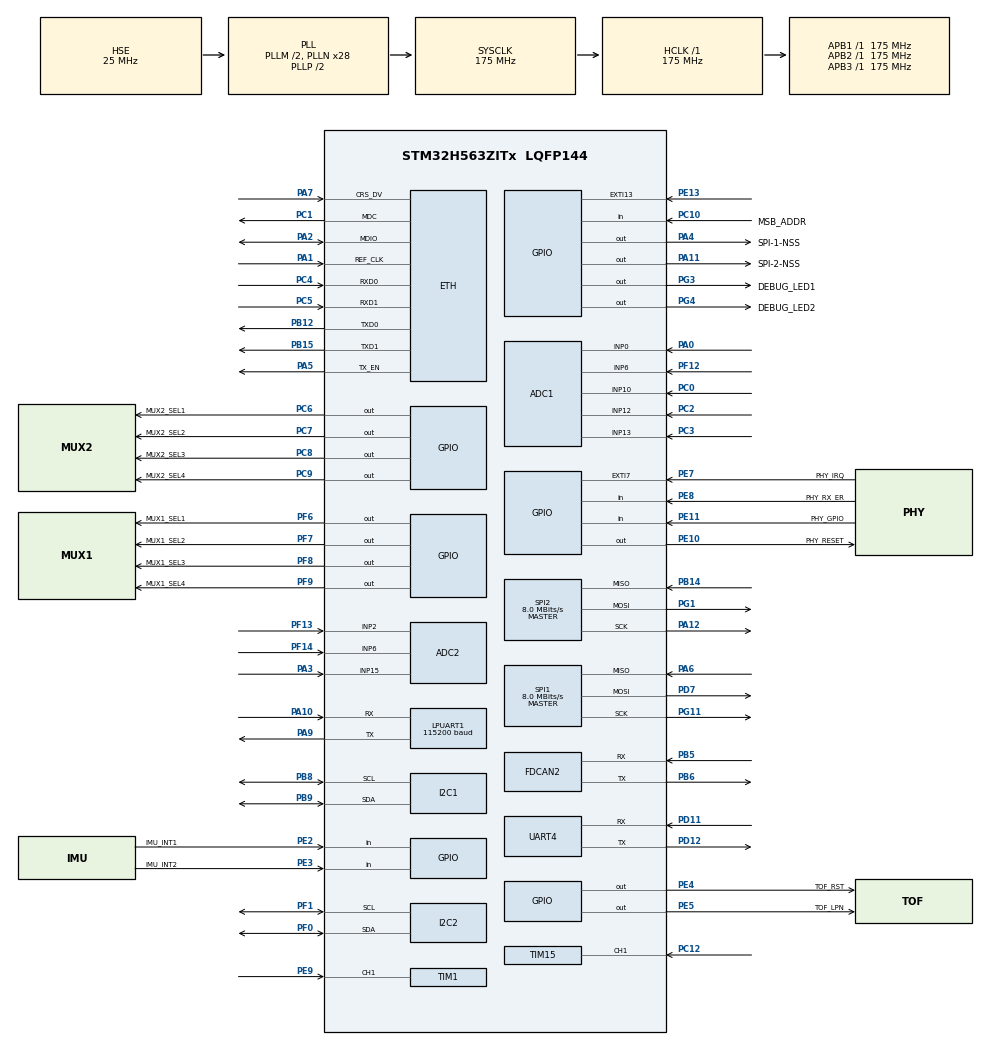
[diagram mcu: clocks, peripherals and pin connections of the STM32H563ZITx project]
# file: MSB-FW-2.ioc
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ADC1.Channel-0\#ChannelRegularConversion=ADC_CHANNEL_0
ADC1.Channel-1\#ChannelRegularConversion=ADC_CHANNEL_6
ADC1.Channel-2\#ChannelRegularConversion=ADC_CHANNEL_10
ADC1.Channel-3\#ChannelRegularConversion=ADC_CHANNEL_12
ADC1.Channel-4\#ChannelRegularConversion=ADC_CHANNEL_13
ADC1.ContinuousConvMode=ENABLE
ADC1.ConversionDataManagement=ADC_CONVERSIONDATA_DMA_CIRCULAR
ADC1.DMAContinuousRequests=ENABLE
ADC1.ExternalTrigConv=ADC_EXTERNALTRIG_T3_TRGO
ADC1.MonitoredBy-0\#ChannelRegularConversion=__NULL
ADC1.MonitoredBy-1\#ChannelRegularConversion=__NULL
ADC1.MonitoredBy-2\#ChannelRegularConversion=__NULL
ADC1.MonitoredBy-3\#ChannelRegularConversion=__NULL
ADC1.MonitoredBy-4\#ChannelRegularConversion=__NULL
ADC1.NbrOfConversion=5
ADC1.NbrOfConversionFlag=1
ADC1.OffsetNumber-0\#ChannelRegularConversion=ADC_OFFSET_NONE
ADC1.OffsetNumber-1\#ChannelRegularConversion=ADC_OFFSET_NONE
ADC1.OffsetNumber-2\#ChannelRegularConversion=ADC_OFFSET_NONE
ADC1.OffsetNumber-3\#ChannelRegularConversion=ADC_OFFSET_NONE
ADC1.OffsetNumber-4\#ChannelRegularConversion=ADC_OFFSET_NONE
ADC1.Rank-0\#ChannelRegularConversion=1
ADC1.Rank-1\#ChannelRegularConversion=2
ADC1.Rank-2\#ChannelRegularConversion=3
ADC1.Rank-3\#ChannelRegularConversion=4
ADC1.Rank-4\#ChannelRegularConversion=5
ADC1.SamplingTime-0\#ChannelRegularConversion=ADC_SAMPLETIME_92CYCLES_5
ADC1.SamplingTime-1\#ChannelRegularConversion=ADC_SAMPLETIME_92CYCLES_5
ADC1.SamplingTime-2\#ChannelRegularConversion=ADC_SAMPLETIME_92CYCLES_5
ADC1.SamplingTime-3\#ChannelRegularConversion=ADC_SAMPLETIME_92CYCLES_5
ADC1.SamplingTime-4\#ChannelRegularConversion=ADC_SAMPLETIME_92CYCLES_5
ADC1.master=1
ADC2.Channel-1\#ChannelRegularConversion=ADC_CHANNEL_15
ADC2.Channel-2\#ChannelRegularConversion=ADC_CHANNEL_2
ADC2.Channel-3\#ChannelRegularConversion=ADC_CHANNEL_6
ADC2.ContinuousConvMode=ENABLE
ADC2.DMAContinuousRequests=ENABLE
ADC2.ExternalTrigConv=ADC_EXTERNALTRIG_T3_TRGO
ADC2.MonitoredBy-1\#ChannelRegularConversion=__NULL
ADC2.MonitoredBy-2\#ChannelRegularConversion=__NULL
ADC2.MonitoredBy-3\#ChannelRegularConversion=__NULL
ADC2.NbrOfConversion=3
ADC2.NbrOfConversionFlag=1
ADC2.OffsetNumber-1\#ChannelRegularConversion=ADC_OFFSET_NONE
ADC2.OffsetNumber-2\#ChannelRegularConversion=ADC_OFFSET_NONE
ADC2.OffsetNumber-3\#ChannelRegularConversion=ADC_OFFSET_NONE
ADC2.Rank-1\#ChannelRegularConversion=1
ADC2.Rank-2\#ChannelRegularConversion=2
ADC2.Rank-3\#ChannelRegularConversion=3
ADC2.SamplingTime-1\#ChannelRegularConversion=ADC_SAMPLETIME_92CYCLES_5
ADC2.SamplingTime-2\#ChannelRegularConversion=ADC_SAMPLETIME_92CYCLES_5
ADC2.SamplingTime-3\#ChannelRegularConversion=ADC_SAMPLETIME_92CYCLES_5
BOOTPATH.BootPathName=LEGACY
BOOTPATH.UserSelectedBootPath=LEGACY
CORTEX_M33_NS.userName=CORTEX_M33
ETH.MediaInterface=HAL_ETH_RMII_MODE
FDCAN2.CalculateBaudRateNominal=500000
FDCAN2.CalculateTimeBitNominal=2000
FDCAN2.CalculateTimeQuantumNominal=125.0
FDCAN2.NominalPrescaler=8
FDCAN2.NominalTimeSeg1=11
FDCAN2.NominalTimeSeg2=4
GPDMA1.CIRCULARMODE_GPDMACH0=ENABLE
GPDMA1.CIRCULARMODE_GPDMACH1=ENABLE
GPDMA1.DESTDATAWIDTH_GPDMACH0=DMA_DEST_DATAWIDTH_HALFWORD
GPDMA1.DESTDATAWIDTH_GPDMACH1=DMA_DEST_DATAWIDTH_HALFWORD
GPDMA1.DESTINC_GPDMACH0=DMA_DINC_INCREMENTED
GPDMA1.DESTINC_GPDMACH1=DMA_DINC_INCREMENTED
GPDMA1.IPHANDLE_GPDMACH0-SIMPLEREQUEST_GPDMACH0=__NULL
GPDMA1.IPHANDLE_GPDMACH1-SIMPLEREQUEST_GPDMACH1=__NULL
GPDMA1.LINKALLOCATEDPORT_CIRCULAR_GPDMACH0=DMA_LINK_ALLOCATED_PORT0
GPDMA1.REQUEST_GPDMACH0=GPDMA1_REQUEST_ADC1
GPDMA1.REQUEST_GPDMACH1=GPDMA1_REQUEST_ADC2
GPDMA1.SRCDATAWIDTH_GPDMACH0=DMA_SRC_DATAWIDTH_HALFWORD
GPDMA1.SRCDATAWIDTH_GPDMACH1=DMA_SRC_DATAWIDTH_HALFWORD
I2C1.Timing=0x60606293
I2C2.Timing=0x60606293
IWDG.Prescaler=IWDG_PRESCALER_16
LPUART1.BaudRate=115200
Mcu.Family=STM32H5
Mcu.Name=STM32H563ZITx
Mcu.Package=LQFP144
NVIC.EXTI7_IRQn=true\:2\:0\:true\:false\:true\:false\:true\:true\:true
NVIC.FDCAN2_IT0_IRQn=true\:2\:0\:true\:false\:true\:false\:true\:true\:true
NVIC.FDCAN2_IT1_IRQn=true\:2\:0\:true\:false\:true\:false\:true\:true\:true
NVIC.GPDMA1_Channel0_IRQn=true\:2\:0\:true\:false\:true\:true\:false\:true\:true
NVIC.GPDMA1_Channel1_IRQn=true\:2\:0\:true\:false\:true\:true\:false\:true\:true
NVIC.PriorityGroup=NVIC_PRIORITYGROUP_4
NVIC.TIM15_IRQn=true\:2\:0\:true\:false\:true\:false\:true\:true\:true
NVIC.TIM1_CC_IRQn=true\:2\:0\:true\:false\:true\:false\:true\:true\:true
NVIC.TIM2_IRQn=true\:1\:0\:true\:false\:true\:false\:false\:true\:true
NVIC.TimeBase=TIM2_IRQn
NVIC.TimeBaseIP=TIM2
PA0.Signal=ADCx_INP0
PA1.Mode=RMII
PA1.Signal=ETH_REF_CLK
PA10.Mode=Asynchronous
PA10.Signal=LPUART1_RX
PA11.GPIO_Label=SPI-2-NSS
PA11.Signal=GPIO_Output
PA12.Mode=Full_Duplex_Master
PA12.Signal=SPI2_SCK
PA13(JTMS/SWDIO).Mode=JTAG_4_pins
PA13(JTMS/SWDIO).Signal=DEBUG_JTMS-SWDIO
PA14(JTCK/SWCLK).Mode=JTAG_4_pins
PA14(JTCK/SWCLK).Signal=DEBUG_JTCK-SWCLK
PA15(JTDI).Mode=JTAG_4_pins
PA15(JTDI).Signal=DEBUG_JTDI
PA2.Mode=RMII
PA2.Signal=ETH_MDIO
PA3.Signal=ADCx_INP15
PA4.GPIO_Label=SPI-1-NSS
PA4.Signal=GPIO_Output
PA5.Mode=RMII
PA5.Signal=ETH_TX_EN
PA6.Mode=Full_Duplex_Master
PA6.Signal=SPI1_MISO
PA7.Mode=RMII
PA7.Signal=ETH_CRS_DV
PA9.Mode=Asynchronous
PA9.Signal=LPUART1_TX
PB12.Mode=RMII
PB12.Signal=ETH_TXD0
PB14.Mode=Full_Duplex_Master
PB14.Signal=SPI2_MISO
PB15.Mode=RMII
PB15.Signal=ETH_TXD1
PB3(JTDO/TRACESWO).Mode=JTAG_4_pins
PB3(JTDO/TRACESWO).Signal=DEBUG_JTDO-SWO
PB5.Mode=FDCAN_Activate
PB5.Signal=FDCAN2_RX
PB6.Mode=FDCAN_Activate
PB6.Signal=FDCAN2_TX
PB8.Mode=I2C
PB8.Signal=I2C1_SCL
PB9.Mode=I2C
PB9.Signal=I2C1_SDA
PC0.Signal=ADCx_INP10
PC1.Mode=RMII
PC1.Signal=ETH_MDC
PC10.GPIO_Label=MSB_ADDR
PC10.Signal=GPIO_Input
PC12.Signal=S_TIM15_CH1
PC14-OSC32_IN(OSC32_IN).Mode=LSE-External-Oscillator
PC14-OSC32_IN(OSC32_IN).Signal=RCC_OSC32_IN
PC15-OSC32_OUT(OSC32_OUT).Mode=LSE-External-Oscillator
PC15-OSC32_OUT(OSC32_OUT).Signal=RCC_OSC32_OUT
PC2.Signal=ADCx_INP12
PC3.Signal=ADCx_INP13
PC4.Mode=RMII
PC4.Signal=ETH_RXD0
PC5.Mode=RMII
PC5.Signal=ETH_RXD1
PC6.GPIO_Label=MUX2_SEL1
PC6.Signal=GPIO_Output
PC7.GPIO_Label=MUX2_SEL2
PC7.Signal=GPIO_Output
PC8.GPIO_Label=MUX2_SEL3
PC8.Signal=GPIO_Output
PC9.GPIO_Label=MUX2_SEL4
PC9.Signal=GPIO_Output
PD11.Mode=Asynchronous
PD11.Signal=UART4_RX
PD12.Mode=Asynchronous
PD12.Signal=UART4_TX
PD7.Mode=Full_Duplex_Master
PD7.Signal=SPI1_MOSI
PE10.GPIO_Label=PHY_RESET
PE10.PinState=GPIO_PIN_SET
PE10.Signal=GPIO_Output
PE11.GPIO_Label=PHY_GPIO
PE11.GPIO_PuPd=GPIO_PULLDOWN
PE11.Signal=GPIO_Input
PE13.Signal=GPXTI13
PE2.GPIO_Label=IMU_INT1
PE2.Signal=GPIO_Input
PE3.GPIO_Label=IMU_INT2
PE3.Signal=GPIO_Input
PE4.GPIO_Label=TOF_RST
PE4.Signal=GPIO_Output
PE5.GPIO_Label=TOF_LPN
PE5.Signal=GPIO_Output
PE7.GPIO_Label=PHY_IRQ
PE7.GPIO_ModeDefaultEXTI=GPIO_MODE_IT_FALLING
PE7.Signal=GPXTI7
PE8.GPIO_Label=PHY_RX_ER
PE8.Signal=GPIO_Input
PE9.Signal=S_TIM1_CH1
PF0.Mode=I2C
PF0.Signal=I2C2_SDA
PF1.Mode=I2C
PF1.Signal=I2C2_SCL
PF12.Mode=IN6-Single-Ended
PF12.Signal=ADC1_INP6
PF13.Mode=IN2-Single-Ended
PF13.Signal=ADC2_INP2
PF14.Mode=IN6-Single-Ended
PF14.Signal=ADC2_INP6
PF6.GPIO_Label=MUX1_SEL1
PF6.Signal=GPIO_Output
PF7.GPIO_Label=MUX1_SEL2
PF7.Signal=GPIO_Output
PF8.GPIO_Label=MUX1_SEL3
PF8.Signal=GPIO_Output
PF9.GPIO_Label=MUX1_SEL4
PF9.Signal=GPIO_Output
PG1.Mode=Full_Duplex_Master
PG1.Signal=SPI2_MOSI
PG11.Mode=Full_Duplex_Master
PG11.Signal=SPI1_SCK
PG3.GPIO_Label=DEBUG_LED1
PG3.Signal=GPIO_Output
PG4.GPIO_Label=DEBUG_LED2
PG4.Signal=GPIO_Output
PH0-OSC_IN(PH0).Mode=HSE-External-Oscillator
PH0-OSC_IN(PH0).Signal=RCC_OSC_IN
PH1-OSC_OUT(PH1).Mode=HSE-External-Oscillator
PH1-OSC_OUT(PH1).Signal=RCC_OSC_OUT
ProjectManager.HeapSize=0x200
ProjectManager.StackSize=0x400
ProjectManager.TargetToolchain=CMake
RCC.ADCFreq_Value=175000000
RCC.AHBFreq_Value=175000000
RCC.APB1Freq_Value=175000000
RCC.APB1TimFreq_Value=175000000
RCC.APB2Freq_Value=175000000
RCC.APB2TimFreq_Value=175000000
RCC.APB3Freq_Value=175000000
RCC.CSI_VALUE=4000000
RCC.CortexFreq_Value=175000000
RCC.EPOD_VALUE=25000000
RCC.FDCANClockSelection=RCC_FDCANCLKSOURCE_PLL2Q
RCC.HCLKFreq_Value=175000000
RCC.HSE_VALUE=25000000
RCC.HSI48_VALUE=48000000
RCC.HSI_VALUE=64000000
RCC.LSIRC_VALUE=32000
RCC.PLL2FRACN=0
RCC.PLL2M=5
RCC.PLL2N=64
RCC.PLL2P=5
RCC.PLL2Q=5
RCC.PLL2Source=RCC_PLL2_SOURCE_HSE
RCC.PLL3FRACN=0
RCC.PLLFRACN=0
RCC.PLLM=2
RCC.PLLN=28
RCC.PLLSourceVirtual=RCC_PLL1_SOURCE_HSE
RCC.SPI1CLockSelection=RCC_SPI1CLKSOURCE_PLL2P
RCC.SPI2CLockSelection=RCC_SPI2CLKSOURCE_PLL2P
RCC.SYSCLKFreq_VALUE=175000000
RCC.SYSCLKSource=RCC_SYSCLKSOURCE_PLLCLK
RCC.USBFreq_Value=48000000
RCC.VCOOutputFreq_Value=350000000
SH.ADCx_INP0.0=ADC1_INP0,IN0-Single-Ended
SH.ADCx_INP10.0=ADC1_INP10,IN10-Single-Ended
SH.ADCx_INP12.0=ADC1_INP12,IN12-Single-Ended
SH.ADCx_INP13.0=ADC1_INP13,IN13-Single-Ended
SH.ADCx_INP15.0=ADC2_INP15,IN15-Single-Ended
SH.S_TIM15_CH1.0=TIM15_CH1,Input_Capture1_from_TI1
SH.S_TIM1_CH1.0=TIM1_CH1,Input_Capture1_from_TI1
SPI1.BaudRatePrescaler=SPI_BAUDRATEPRESCALER_8
SPI1.CalculateBaudRate=8.0 MBits/s
SPI1.DataSize=SPI_DATASIZE_8BIT
SPI1.Direction=SPI_DIRECTION_2LINES
SPI1.MasterKeepIOState=SPI_MASTER_KEEP_IO_STATE_ENABLE
SPI1.Mode=SPI_MODE_MASTER
SPI1.NSSPMode=SPI_NSS_PULSE_DISABLE
SPI1.VirtualType=VM_MASTER
SPI2.BaudRatePrescaler=SPI_BAUDRATEPRESCALER_8
SPI2.CalculateBaudRate=8.0 MBits/s
SPI2.DataSize=SPI_DATASIZE_8BIT
SPI2.Direction=SPI_DIRECTION_2LINES
SPI2.MasterKeepIOState=SPI_MASTER_KEEP_IO_STATE_ENABLE
SPI2.Mode=SPI_MODE_MASTER
SPI2.NSSPMode=SPI_NSS_PULSE_DISABLE
SPI2.VirtualType=VM_MASTER
STMicroelectronics.X-CUBE-MEMS1.12.0.0.SensorsJjSTM32IiMotionFXIiLibraryJjCore=true
STMicroelectronics.X-CUBE-TOF1.3.4.3.BSP.number=3
STMicroelectronics.X-CUBE-TOF1.3.4.3.BoardOoPartJjRangingJjVL53L7CX=true
STMicroelectronics.X-CUBE-TOF1.3.4.30.BSP.STBoard=false
STMicroelectronics.X-CUBE-TOF1.3.4.30.BSP.api=Unknown
STMicroelectronics.X-CUBE-TOF1.3.4.30.BSP.condition=SEMBoardOoPartJjRangingJjVL53L7CX
STMicroelectronics.X-CUBE-TOF1.3.4.30.BSP.instance=PG3
STMicroelectronics.X-CUBE-TOF1.3.4.30.BSP.ip=GPIO
STMicroelectronics.X-CUBE-TOF1.3.4.30.BSP.mode=Output
STMicroelectronics.X-CUBE-TOF1.3.4.30.BSP.name=VL53L7CX_PWR_EN
STMicroelectronics.X-CUBE-TOF1.3.4.30.BSP.solution=PG3
STMicroelectronics.X-CUBE-TOF1.3.4.31.BSP.STBoard=false
STMicroelectronics.X-CUBE-TOF1.3.4.31.BSP.api=Unknown
STMicroelectronics.X-CUBE-TOF1.3.4.31.BSP.condition=SEMBoardOoPartJjRangingJjVL53L7CX
STMicroelectronics.X-CUBE-TOF1.3.4.31.BSP.instance=PE5
STMicroelectronics.X-CUBE-TOF1.3.4.31.BSP.ip=GPIO
STMicroelectronics.X-CUBE-TOF1.3.4.31.BSP.mode=Output
STMicroelectronics.X-CUBE-TOF1.3.4.31.BSP.name=VL53L7CX_LPn
STMicroelectronics.X-CUBE-TOF1.3.4.31.BSP.solution=PE5
STMicroelectronics.X-CUBE-TOF1.3.4.32.BSP.STBoard=false
STMicroelectronics.X-CUBE-TOF1.3.4.32.BSP.api=Unknown
STMicroelectronics.X-CUBE-TOF1.3.4.32.BSP.condition=SEMBoardOoPartJjRangingJjVL53L7CX
STMicroelectronics.X-CUBE-TOF1.3.4.32.BSP.instance=PE4
STMicroelectronics.X-CUBE-TOF1.3.4.32.BSP.ip=GPIO
STMicroelectronics.X-CUBE-TOF1.3.4.32.BSP.mode=Output
STMicroelectronics.X-CUBE-TOF1.3.4.32.BSP.name=VL53L7CX_I2C_RST
STMicroelectronics.X-CUBE-TOF1.3.4.32.BSP.solution=PE4
THREADX.TX_APP_GENERATE_INIT_CODE=true
THREADX.TX_APP_MEM_POOL_SIZE=60040
THREADX.TX_TIMER_TICKS_PER_SECOND=1000
TIM1.Channel-Input_Capture1_from_TI1=TIM_CHANNEL_1
TIM1.ICFilter_CH1=4
TIM1.Prescaler=1750-1
TIM15.Channel-Input_Capture1_from_TI1=TIM_CHANNEL_1
TIM15.ICFilter_CH1=4
TIM15.Prescaler=1750-1
TIM3.AutoReloadPreload=TIM_AUTORELOAD_PRELOAD_ENABLE
TIM3.PeriodNoDither=3999
TIM3.Prescaler=174
TIM3.TIM_MasterOutputTrigger=TIM_TRGO_UPDATE
VP_BOOTPATH_VS_BOOTPATH.Mode=BP_Activate
VP_CORTEX_M33_NS_VS_Hclk.Mode=Hclk_Mode
VP_DCACHE1_VS_DCACHE.Mode=DCACHE_Activate
VP_GPDMA1_VS_GPDMACH0.Mode=SIMPLEREQUEST_GPDMACH0
VP_GPDMA1_VS_GPDMACH1.Mode=SIMPLEREQUEST_GPDMACH1
VP_ICACHE_VS_ICACHE.Mode=DirectMappedCache
VP_IWDG_VS_IWDG.Mode=IWDG_Activate
VP_MEMORYMAP_VS_MEMORYMAP.Mode=CurAppReg
VP_PWR_VS_LPOM.Mode=PowerOptimisation
VP_PWR_VS_SECSignals.Mode=Security/Privilege
VP_STMicroelectronics.X-CUBE-MEMS1_VS_SensorsJjSTM32IiMotionFXIiLibrary_2.10.0_12.0.0.Mode=SensorsJjSTM32IiMotionFXIiLibrary
VP_STMicroelectronics.X-CUBE-TOF1_VS_BoardOoPartJjRanging_2.0.6_3.4.3.Mode=BoardOoPartJjRanging
VP_SYS_VS_tim2.Mode=TIM2
VP_THREADX_VS_RTOSJjThreadXJjCoreJjDefault.Mode=Core_Default
VP_TIM15_VS_ClockSourceINT.Mode=Internal
VP_TIM1_VS_ClockSourceINT.Mode=Internal
VP_TIM3_VS_ClockSourceINT.Mode=Internal
board=custom

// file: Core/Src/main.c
/* USER CODE BEGIN Header */
/**
  ******************************************************************************
  * @file           : main.c
  * @brief          : Main program body
  ******************************************************************************
  * @attention
  *
  * Copyright (c) 2025 STMicroelectronics.
  * All rights reserved.
  *
  * This software is licensed under terms that can be found in the LICENSE file
  * in the root directory of this software component.
  * If no LICENSE file comes with this software, it is provided AS-IS.
  *
  ******************************************************************************
  */
/* USER CODE END Header */
#include "app_threadx.h"
#include "main.h"

/* USER CODE BEGIN Includes */
#include "fdcan.h"
#include "u_queues.h"
#include "u_utils.h"
#include "u_can.h"

/* USER CODE END Includes */

ETH_TxPacketConfigTypeDef TxConfig;
ETH_DMADescTypeDef  DMARxDscrTab[ETH_RX_DESC_CNT]; /* Ethernet Rx DMA Descriptors */
ETH_DMADescTypeDef  DMATxDscrTab[ETH_TX_DESC_CNT]; /* Ethernet Tx DMA Descriptors */

ADC_HandleTypeDef hadc1;
ADC_HandleTypeDef hadc2;
DMA_NodeTypeDef Node_GPDMA1_Channel0;
DMA_QListTypeDef List_GPDMA1_Channel0;
DMA_HandleTypeDef handle_GPDMA1_Channel0;
DMA_NodeTypeDef Node_GPDMA1_Channel1;
DMA_QListTypeDef List_GPDMA1_Channel1;
DMA_HandleTypeDef handle_GPDMA1_Channel1;

DCACHE_HandleTypeDef hdcache1;

ETH_HandleTypeDef heth;

FDCAN_HandleTypeDef hfdcan2;

I2C_HandleTypeDef hi2c1;
I2C_HandleTypeDef hi2c2;

IWDG_HandleTypeDef hiwdg;

UART_HandleTypeDef hlpuart1;
UART_HandleTypeDef huart4;

SPI_HandleTypeDef hspi1;
SPI_HandleTypeDef hspi2;

TIM_HandleTypeDef htim1;
TIM_HandleTypeDef htim3;
TIM_HandleTypeDef htim15;

/* USER CODE BEGIN PV */
device_loc_t device_loc = DEVICE_BACK;

/* USER CODE END PV */

void SystemClock_Config(void);
void PeriphCommonClock_Config(void);
static void MX_GPIO_Init(void);
static void MX_GPDMA1_Init(void);
static void MX_ADC2_Init(void);
static void MX_FDCAN2_Init(void);
static void MX_ETH_Init(void);
static void MX_I2C2_Init(void);
static void MX_LPUART1_UART_Init(void);
static void MX_UART4_Init(void);
static void MX_SPI1_Init(void);
static void MX_SPI2_Init(void);
static void MX_DCACHE1_Init(void);
static void MX_ICACHE_Init(void);
static void MX_ADC1_Init(void);
static void MX_TIM3_Init(void);
static void MX_TIM15_Init(void);
static void MX_TIM1_Init(void);
static void MX_I2C1_Init(void);
static void MX_IWDG_Init(void);

/* USER CODE BEGIN 0 */

/* Make printf() use LPUART1 */
int _write(int file, char *ptr, int len)
{
    HAL_UART_Transmit(&hlpuart1, (uint8_t*)ptr, len, HAL_MAX_DELAY);
    return len;
}

/* FDCAN FIFO0 Interrupt Callback */
/* Callback for any FIFO0 interrupt stuff */
void HAL_FDCAN_RxFifo0Callback(FDCAN_HandleTypeDef *hfdcan, uint32_t RxFifo0ITs)
{

	/* If a message has just been recieved... */
	if (RxFifo0ITs & FDCAN_IT_RX_FIFO0_NEW_MESSAGE)
	{
		can_msg_t message;
		FDCAN_RxHeaderTypeDef rx_header;

    /* Get the message. */
    HAL_StatusTypeDef status = HAL_FDCAN_GetRxMessage(hfdcan, FDCAN_RX_FIFO0, &rx_header, message.data);
    if (status != HAL_OK) {
      PRINTLN_ERROR("Failed to call HAL_FDCAN_GetRxMessage() (Status: %d/%s).", status, hal_status_toString(status));
      return;
    }

    /* Pack the message into the struct. */
    message.id = rx_header.Identifier;
		message.id_is_extended = (rx_header.IdType == FDCAN_EXTENDED_ID);
	  message.len = (uint8_t)rx_header.DataLength;

		/* Check message size */
		if (rx_header.DataLength > 8)
		{
			PRINTLN_ERROR("Recieved CAN message is larger than 8 bytes (rx_header.DataLength: %ld).", rx_header.DataLength);
			return;
		}

		/* Send message to incoming CAN queue */
    queue_send(&can_incoming, &message, TX_NO_WAIT);
	}
}

/* BusOff Error Handling. */
void HAL_FDCAN_ErrorStatusCallback(FDCAN_HandleTypeDef *hfdcan, uint32_t ErrorStatusITs)
{
    FDCAN_ProtocolStatusTypeDef protocol_status;
    HAL_FDCAN_GetProtocolStatus(hfdcan, &protocol_status);

    if (protocol_status.BusOff != 0)  // If Bus-Off error occurred
    {
        CLEAR_BIT(hfdcan->Instance->CCCR, FDCAN_CCCR_INIT);  // Clear INIT bit to recover from Bus-Off
    }
}

/* USER CODE END 0 */

int main(void)
{

  /* MCU Configuration--------------------------------------------------------*/

  /* Reset of all peripherals, Initializes the Flash interface and the Systick. */
  HAL_Init();

  /* Configure the system clock */
  SystemClock_Config();

  /* Configure the peripherals common clocks */
  PeriphCommonClock_Config();

  /* Initialize all configured peripherals */
  MX_GPIO_Init();
  MX_GPDMA1_Init();
  MX_ADC2_Init();
  MX_FDCAN2_Init();
  MX_ETH_Init();
  MX_I2C2_Init();
  MX_LPUART1_UART_Init();
  MX_UART4_Init();
  MX_SPI1_Init();
  MX_SPI2_Init();
  MX_DCACHE1_Init();
  MX_ICACHE_Init();
  MX_ADC1_Init();
  MX_TIM3_Init();
  MX_TIM15_Init();
  MX_TIM1_Init();
  MX_I2C1_Init();
  MX_IWDG_Init();
  /* USER CODE BEGIN 2 */
  bool loc1 = HAL_GPIO_ReadPin(MSB_ADDR_GPIO_Port, MSB_ADDR_Pin);

  if (loc1) {
    device_loc = DEVICE_FRONT;
  }
  else {
    device_loc = DEVICE_BACK;
  }

  can2_init(&hfdcan2);

  /* USER CODE END 2 */

  MX_ThreadX_Init();

  /* We should never get here as control is now taken by the scheduler */

  /* Infinite loop */
  while (1)
  {

  }
}

void SystemClock_Config(void)
{
  RCC_OscInitTypeDef RCC_OscInitStruct = {0};
  RCC_ClkInitTypeDef RCC_ClkInitStruct = {0};

  /** Configure the main internal regulator output voltage
  */
  __HAL_PWR_VOLTAGESCALING_CONFIG(PWR_REGULATOR_VOLTAGE_SCALE1);

  while(!__HAL_PWR_GET_FLAG(PWR_FLAG_VOSRDY)) {}

  /** Initializes the RCC Oscillators according to the specified parameters
  * in the RCC_OscInitTypeDef structure.
  */
  RCC_OscInitStruct.OscillatorType = RCC_OSCILLATORTYPE_HSI|RCC_OSCILLATORTYPE_LSI
                              |RCC_OSCILLATORTYPE_HSE|RCC_OSCILLATORTYPE_CSI;
  RCC_OscInitStruct.HSEState = RCC_HSE_ON;
  RCC_OscInitStruct.HSIState = RCC_HSI_ON;
  RCC_OscInitStruct.HSIDiv = RCC_HSI_DIV2;
  RCC_OscInitStruct.HSICalibrationValue = RCC_HSICALIBRATION_DEFAULT;
  RCC_OscInitStruct.LSIState = RCC_LSI_ON;
  RCC_OscInitStruct.CSIState = RCC_CSI_ON;
  RCC_OscInitStruct.CSICalibrationValue = RCC_CSICALIBRATION_DEFAULT;
  RCC_OscInitStruct.PLL.PLLState = RCC_PLL_ON;
  RCC_OscInitStruct.PLL.PLLSource = RCC_PLL1_SOURCE_HSE;
  RCC_OscInitStruct.PLL.PLLM = 2;
  RCC_OscInitStruct.PLL.PLLN = 28;
  RCC_OscInitStruct.PLL.PLLP = 2;
  RCC_OscInitStruct.PLL.PLLQ = 2;
  RCC_OscInitStruct.PLL.PLLR = 2;
  RCC_OscInitStruct.PLL.PLLRGE = RCC_PLL1_VCIRANGE_3;
  RCC_OscInitStruct.PLL.PLLVCOSEL = RCC_PLL1_VCORANGE_WIDE;
  RCC_OscInitStruct.PLL.PLLFRACN = 0;
  if (HAL_RCC_OscConfig(&RCC_OscInitStruct) != HAL_OK)
  {
    Error_Handler();
  }

  /** Initializes the CPU, AHB and APB buses clocks
  */
  RCC_ClkInitStruct.ClockType = RCC_CLOCKTYPE_HCLK|RCC_CLOCKTYPE_SYSCLK
                              |RCC_CLOCKTYPE_PCLK1|RCC_CLOCKTYPE_PCLK2
                              |RCC_CLOCKTYPE_PCLK3;
  RCC_ClkInitStruct.SYSCLKSource = RCC_SYSCLKSOURCE_PLLCLK;
  RCC_ClkInitStruct.AHBCLKDivider = RCC_SYSCLK_DIV1;
  RCC_ClkInitStruct.APB1CLKDivider = RCC_HCLK_DIV1;
  RCC_ClkInitStruct.APB2CLKDivider = RCC_HCLK_DIV1;
  RCC_ClkInitStruct.APB3CLKDivider = RCC_HCLK_DIV1;

  if (HAL_RCC_ClockConfig(&RCC_ClkInitStruct, FLASH_LATENCY_5) != HAL_OK)
  {
    Error_Handler();
  }

  /** Enables PLL2P clock output
  */
  __HAL_RCC_TIMIC_ENABLE();

  /** Configure the programming delay
  */
  __HAL_FLASH_SET_PROGRAM_DELAY(FLASH_PROGRAMMING_DELAY_2);
}

void PeriphCommonClock_Config(void)
{
  RCC_PeriphCLKInitTypeDef PeriphClkInitStruct = {0};

  /** Initializes the peripherals clock
  */
  PeriphClkInitStruct.PeriphClockSelection = RCC_PERIPHCLK_ADCDAC|RCC_PERIPHCLK_FDCAN
                              |RCC_PERIPHCLK_SPI1|RCC_PERIPHCLK_SPI2;
  PeriphClkInitStruct.PLL2.PLL2Source = RCC_PLL2_SOURCE_HSE;
  PeriphClkInitStruct.PLL2.PLL2M = 5;
  PeriphClkInitStruct.PLL2.PLL2N = 64;
  PeriphClkInitStruct.PLL2.PLL2P = 5;
  PeriphClkInitStruct.PLL2.PLL2Q = 5;
  PeriphClkInitStruct.PLL2.PLL2R = 2;
  PeriphClkInitStruct.PLL2.PLL2RGE = RCC_PLL2_VCIRANGE_2;
  PeriphClkInitStruct.PLL2.PLL2VCOSEL = RCC_PLL2_VCORANGE_WIDE;
  PeriphClkInitStruct.PLL2.PLL2FRACN = 0;
  PeriphClkInitStruct.PLL2.PLL2ClockOut = RCC_PLL2_DIVP|RCC_PLL2_DIVQ;
  PeriphClkInitStruct.FdcanClockSelection = RCC_FDCANCLKSOURCE_PLL2Q;
  PeriphClkInitStruct.Spi1ClockSelection = RCC_SPI1CLKSOURCE_PLL2P;
  PeriphClkInitStruct.Spi2ClockSelection = RCC_SPI2CLKSOURCE_PLL2P;
  if (HAL_RCCEx_PeriphCLKConfig(&PeriphClkInitStruct) != HAL_OK)
  {
    Error_Handler();
  }
}

static void MX_ADC1_Init(void)
{

  ADC_ChannelConfTypeDef sConfig = {0};

  /** Common config
  */
  hadc1.Instance = ADC1;
  hadc1.Init.ClockPrescaler = ADC_CLOCK_ASYNC_DIV4;
  hadc1.Init.Resolution = ADC_RESOLUTION_12B;
  hadc1.Init.DataAlign = ADC_DATAALIGN_RIGHT;
  hadc1.Init.ScanConvMode = ADC_SCAN_ENABLE;
  hadc1.Init.EOCSelection = ADC_EOC_SINGLE_CONV;
  hadc1.Init.LowPowerAutoWait = DISABLE;
  hadc1.Init.ContinuousConvMode = ENABLE;
  hadc1.Init.NbrOfConversion = 5;
  hadc1.Init.DiscontinuousConvMode = DISABLE;
  hadc1.Init.ExternalTrigConv = ADC_EXTERNALTRIG_T3_TRGO;
  hadc1.Init.ExternalTrigConvEdge = ADC_EXTERNALTRIGCONVEDGE_RISING;
  hadc1.Init.DMAContinuousRequests = ENABLE;
  hadc1.Init.SamplingMode = ADC_SAMPLING_MODE_NORMAL;
  hadc1.Init.Overrun = ADC_OVR_DATA_PRESERVED;
  hadc1.Init.OversamplingMode = DISABLE;
  if (HAL_ADC_Init(&hadc1) != HAL_OK)
  {
    Error_Handler();
  }

  /** Configure Regular Channel
  */
  sConfig.Channel = ADC_CHANNEL_0;
  sConfig.Rank = ADC_REGULAR_RANK_1;
  sConfig.SamplingTime = ADC_SAMPLETIME_92CYCLES_5;
  sConfig.SingleDiff = ADC_SINGLE_ENDED;
  sConfig.OffsetNumber = ADC_OFFSET_NONE;
  sConfig.Offset = 0;
  if (HAL_ADC_ConfigChannel(&hadc1, &sConfig) != HAL_OK)
  {
    Error_Handler();
  }

  /** Configure Regular Channel
  */
  sConfig.Channel = ADC_CHANNEL_6;
  sConfig.Rank = ADC_REGULAR_RANK_2;
  if (HAL_ADC_ConfigChannel(&hadc1, &sConfig) != HAL_OK)
  {
    Error_Handler();
  }

  /** Configure Regular Channel
  */
  sConfig.Channel = ADC_CHANNEL_10;
  sConfig.Rank = ADC_REGULAR_RANK_3;
  if (HAL_ADC_ConfigChannel(&hadc1, &sConfig) != HAL_OK)
  {
    Error_Handler();
  }

  /** Configure Regular Channel
  */
  sConfig.Channel = ADC_CHANNEL_12;
  sConfig.Rank = ADC_REGULAR_RANK_4;
  if (HAL_ADC_ConfigChannel(&hadc1, &sConfig) != HAL_OK)
  {
    Error_Handler();
  }

  /** Configure Regular Channel
  */
  sConfig.Channel = ADC_CHANNEL_13;
  sConfig.Rank = ADC_REGULAR_RANK_5;
  if (HAL_ADC_ConfigChannel(&hadc1, &sConfig) != HAL_OK)
  {
    Error_Handler();
  }

}

static void MX_ADC2_Init(void)
{

  ADC_ChannelConfTypeDef sConfig = {0};

  /** Common config
  */
  hadc2.Instance = ADC2;
  hadc2.Init.ClockPrescaler = ADC_CLOCK_ASYNC_DIV4;
  hadc2.Init.Resolution = ADC_RESOLUTION_12B;
  hadc2.Init.DataAlign = ADC_DATAALIGN_RIGHT;
  hadc2.Init.ScanConvMode = ADC_SCAN_ENABLE;
  hadc2.Init.EOCSelection = ADC_EOC_SINGLE_CONV;
  hadc2.Init.LowPowerAutoWait = DISABLE;
  hadc2.Init.ContinuousConvMode = ENABLE;
  hadc2.Init.NbrOfConversion = 3;
  hadc2.Init.DiscontinuousConvMode = DISABLE;
  hadc2.Init.ExternalTrigConv = ADC_EXTERNALTRIG_T3_TRGO;
  hadc2.Init.ExternalTrigConvEdge = ADC_EXTERNALTRIGCONVEDGE_RISING;
  hadc2.Init.DMAContinuousRequests = ENABLE;
  hadc2.Init.SamplingMode = ADC_SAMPLING_MODE_NORMAL;
  hadc2.Init.Overrun = ADC_OVR_DATA_PRESERVED;
  hadc2.Init.OversamplingMode = DISABLE;
  if (HAL_ADC_Init(&hadc2) != HAL_OK)
  {
    Error_Handler();
  }

  /** Configure Regular Channel
  */
  sConfig.Channel = ADC_CHANNEL_15;
  sConfig.Rank = ADC_REGULAR_RANK_1;
  sConfig.SamplingTime = ADC_SAMPLETIME_92CYCLES_5;
  sConfig.SingleDiff = ADC_SINGLE_ENDED;
  sConfig.OffsetNumber = ADC_OFFSET_NONE;
  sConfig.Offset = 0;
  if (HAL_ADC_ConfigChannel(&hadc2, &sConfig) != HAL_OK)
  {
    Error_Handler();
  }

  /** Configure Regular Channel
  */
  sConfig.Channel = ADC_CHANNEL_2;
  sConfig.Rank = ADC_REGULAR_RANK_2;
  if (HAL_ADC_ConfigChannel(&hadc2, &sConfig) != HAL_OK)
  {
    Error_Handler();
  }

  /** Configure Regular Channel
  */
  sConfig.Channel = ADC_CHANNEL_6;
  sConfig.Rank = ADC_REGULAR_RANK_3;
  if (HAL_ADC_ConfigChannel(&hadc2, &sConfig) != HAL_OK)
  {
    Error_Handler();
  }

}

static void MX_DCACHE1_Init(void)
{

  hdcache1.Instance = DCACHE1;
  hdcache1.Init.ReadBurstType = DCACHE_READ_BURST_WRAP;
  if (HAL_DCACHE_Init(&hdcache1) != HAL_OK)
  {
    Error_Handler();
  }

}

static void MX_ETH_Init(void)
{

   static uint8_t MACAddr[6];

  heth.Instance = ETH;
  MACAddr[0] = 0x00;
  MACAddr[1] = 0x80;
  MACAddr[2] = 0xE1;
  MACAddr[3] = 0x00;
  MACAddr[4] = 0x00;
  MACAddr[5] = 0x00;
  heth.Init.MACAddr = &MACAddr[0];
  heth.Init.MediaInterface = HAL_ETH_RMII_MODE;
  heth.Init.TxDesc = DMATxDscrTab;
  heth.Init.RxDesc = DMARxDscrTab;
  heth.Init.RxBuffLen = 1524;

  if (HAL_ETH_Init(&heth) != HAL_OK)
  {
    Error_Handler();
  }

  memset(&TxConfig, 0 , sizeof(ETH_TxPacketConfigTypeDef));
  TxConfig.Attributes = ETH_TX_PACKETS_FEATURES_CSUM | ETH_TX_PACKETS_FEATURES_CRCPAD;
  TxConfig.ChecksumCtrl = ETH_CHECKSUM_IPHDR_PAYLOAD_INSERT_PHDR_CALC;
  TxConfig.CRCPadCtrl = ETH_CRC_PAD_INSERT;

}

static void MX_FDCAN2_Init(void)
{

  hfdcan2.Instance = FDCAN2;
  hfdcan2.Init.ClockDivider = FDCAN_CLOCK_DIV1;
  hfdcan2.Init.FrameFormat = FDCAN_FRAME_CLASSIC;
  hfdcan2.Init.Mode = FDCAN_MODE_NORMAL;
  hfdcan2.Init.AutoRetransmission = DISABLE;
  hfdcan2.Init.TransmitPause = DISABLE;
  hfdcan2.Init.ProtocolException = DISABLE;
  hfdcan2.Init.NominalPrescaler = 8;
  hfdcan2.Init.NominalSyncJumpWidth = 1;
  hfdcan2.Init.NominalTimeSeg1 = 11;
  hfdcan2.Init.NominalTimeSeg2 = 4;
  hfdcan2.Init.DataPrescaler = 1;
  hfdcan2.Init.DataSyncJumpWidth = 1;
  hfdcan2.Init.DataTimeSeg1 = 1;
  hfdcan2.Init.DataTimeSeg2 = 1;
  hfdcan2.Init.StdFiltersNbr = 0;
  hfdcan2.Init.ExtFiltersNbr = 0;
  hfdcan2.Init.TxFifoQueueMode = FDCAN_TX_FIFO_OPERATION;
  if (HAL_FDCAN_Init(&hfdcan2) != HAL_OK)
  {
    Error_Handler();
  }

}

static void MX_GPDMA1_Init(void)
{

  /* Peripheral clock enable */
  __HAL_RCC_GPDMA1_CLK_ENABLE();

  /* GPDMA1 interrupt Init */
    HAL_NVIC_SetPriority(GPDMA1_Channel0_IRQn, 2, 0);
    HAL_NVIC_EnableIRQ(GPDMA1_Channel0_IRQn);
    HAL_NVIC_SetPriority(GPDMA1_Channel1_IRQn, 2, 0);
    HAL_NVIC_EnableIRQ(GPDMA1_Channel1_IRQn);

}

static void MX_I2C1_Init(void)
{

  hi2c1.Instance = I2C1;
  hi2c1.Init.Timing = 0x60606293;
  hi2c1.Init.OwnAddress1 = 0;
  hi2c1.Init.AddressingMode = I2C_ADDRESSINGMODE_7BIT;
  hi2c1.Init.DualAddressMode = I2C_DUALADDRESS_DISABLE;
  hi2c1.Init.OwnAddress2 = 0;
  hi2c1.Init.OwnAddress2Masks = I2C_OA2_NOMASK;
  hi2c1.Init.GeneralCallMode = I2C_GENERALCALL_DISABLE;
  hi2c1.Init.NoStretchMode = I2C_NOSTRETCH_DISABLE;
  if (HAL_I2C_Init(&hi2c1) != HAL_OK)
  {
    Error_Handler();
  }

  /** Configure Analogue filter
  */
  if (HAL_I2CEx_ConfigAnalogFilter(&hi2c1, I2C_ANALOGFILTER_ENABLE) != HAL_OK)
  {
    Error_Handler();
  }

  /** Configure Digital filter
  */
  if (HAL_I2CEx_ConfigDigitalFilter(&hi2c1, 0) != HAL_OK)
  {
    Error_Handler();
  }

}

static void MX_I2C2_Init(void)
{

  hi2c2.Instance = I2C2;
  hi2c2.Init.Timing = 0x60606293;
  hi2c2.Init.OwnAddress1 = 0;
  hi2c2.Init.AddressingMode = I2C_ADDRESSINGMODE_7BIT;
  hi2c2.Init.DualAddressMode = I2C_DUALADDRESS_DISABLE;
  hi2c2.Init.OwnAddress2 = 0;
  hi2c2.Init.OwnAddress2Masks = I2C_OA2_NOMASK;
  hi2c2.Init.GeneralCallMode = I2C_GENERALCALL_DISABLE;
  hi2c2.Init.NoStretchMode = I2C_NOSTRETCH_DISABLE;
  if (HAL_I2C_Init(&hi2c2) != HAL_OK)
  {
    Error_Handler();
  }

  /** Configure Analogue filter
  */
  if (HAL_I2CEx_ConfigAnalogFilter(&hi2c2, I2C_ANALOGFILTER_ENABLE) != HAL_OK)
  {
    Error_Handler();
  }

  /** Configure Digital filter
  */
  if (HAL_I2CEx_ConfigDigitalFilter(&hi2c2, 0) != HAL_OK)
  {
    Error_Handler();
  }

}

static void MX_ICACHE_Init(void)
{

  /** Enable instruction cache in 1-way (direct mapped cache)
  */
  if (HAL_ICACHE_ConfigAssociativityMode(ICACHE_1WAY) != HAL_OK)
  {
    Error_Handler();
  }
  if (HAL_ICACHE_Enable() != HAL_OK)
  {
    Error_Handler();
  }

}

static void MX_IWDG_Init(void)
{

  hiwdg.Instance = IWDG;
  hiwdg.Init.Prescaler = IWDG_PRESCALER_16;
  hiwdg.Init.Window = 4095;
  hiwdg.Init.Reload = 4095;
  hiwdg.Init.EWI = 0;
  if (HAL_IWDG_Init(&hiwdg) != HAL_OK)
  {
    Error_Handler();
  }

}

static void MX_LPUART1_UART_Init(void)
{

  hlpuart1.Instance = LPUART1;
  hlpuart1.Init.BaudRate = 115200;
  hlpuart1.Init.WordLength = UART_WORDLENGTH_8B;
  hlpuart1.Init.StopBits = UART_STOPBITS_1;
  hlpuart1.Init.Parity = UART_PARITY_NONE;
  hlpuart1.Init.Mode = UART_MODE_TX_RX;
  hlpuart1.Init.HwFlowCtl = UART_HWCONTROL_NONE;
  hlpuart1.Init.OneBitSampling = UART_ONE_BIT_SAMPLE_DISABLE;
  hlpuart1.AdvancedInit.AdvFeatureInit = UART_ADVFEATURE_NO_INIT;
  hlpuart1.FifoMode = UART_FIFOMODE_DISABLE;
  if (HAL_UART_Init(&hlpuart1) != HAL_OK)
  {
    Error_Handler();
  }
  if (HAL_UARTEx_SetTxFifoThreshold(&hlpuart1, UART_TXFIFO_THRESHOLD_1_8) != HAL_OK)
  {
    Error_Handler();
  }
  if (HAL_UARTEx_SetRxFifoThreshold(&hlpuart1, UART_RXFIFO_THRESHOLD_1_8) != HAL_OK)
  {
    Error_Handler();
  }
  if (HAL_UARTEx_DisableFifoMode(&hlpuart1) != HAL_OK)
  {
    Error_Handler();
  }

}

static void MX_UART4_Init(void)
{

  huart4.Instance = UART4;
  huart4.Init.BaudRate = 115200;
  huart4.Init.WordLength = UART_WORDLENGTH_8B;
  huart4.Init.StopBits = UART_STOPBITS_1;
  huart4.Init.Parity = UART_PARITY_NONE;
  huart4.Init.Mode = UART_MODE_TX_RX;
  huart4.Init.HwFlowCtl = UART_HWCONTROL_NONE;
  huart4.Init.OverSampling = UART_OVERSAMPLING_16;
  huart4.Init.OneBitSampling = UART_ONE_BIT_SAMPLE_DISABLE;
  huart4.Init.ClockPrescaler = UART_PRESCALER_DIV1;
  huart4.AdvancedInit.AdvFeatureInit = UART_ADVFEATURE_NO_INIT;
  if (HAL_UART_Init(&huart4) != HAL_OK)
  {
    Error_Handler();
  }
  if (HAL_UARTEx_SetTxFifoThreshold(&huart4, UART_TXFIFO_THRESHOLD_1_8) != HAL_OK)
  {
    Error_Handler();
  }
  if (HAL_UARTEx_SetRxFifoThreshold(&huart4, UART_RXFIFO_THRESHOLD_1_8) != HAL_OK)
  {
    Error_Handler();
  }
  if (HAL_UARTEx_DisableFifoMode(&huart4) != HAL_OK)
  {
    Error_Handler();
  }

}

static void MX_SPI1_Init(void)
{

  /* SPI1 parameter configuration*/
  hspi1.Instance = SPI1;
  hspi1.Init.Mode = SPI_MODE_MASTER;
  hspi1.Init.Direction = SPI_DIRECTION_2LINES;
  hspi1.Init.DataSize = SPI_DATASIZE_8BIT;
  hspi1.Init.CLKPolarity = SPI_POLARITY_LOW;
  hspi1.Init.CLKPhase = SPI_PHASE_1EDGE;
  hspi1.Init.NSS = SPI_NSS_SOFT;
  hspi1.Init.BaudRatePrescaler = SPI_BAUDRATEPRESCALER_8;
  hspi1.Init.FirstBit = SPI_FIRSTBIT_MSB;
  hspi1.Init.TIMode = SPI_TIMODE_DISABLE;
  hspi1.Init.CRCCalculation = SPI_CRCCALCULATION_DISABLE;
  hspi1.Init.CRCPolynomial = 0x7;
  hspi1.Init.NSSPMode = SPI_NSS_PULSE_DISABLE;
  hspi1.Init.NSSPolarity = SPI_NSS_POLARITY_LOW;
  hspi1.Init.FifoThreshold = SPI_FIFO_THRESHOLD_01DATA;
  hspi1.Init.MasterSSIdleness = SPI_MASTER_SS_IDLENESS_00CYCLE;
  hspi1.Init.MasterInterDataIdleness = SPI_MASTER_INTERDATA_IDLENESS_00CYCLE;
  hspi1.Init.MasterReceiverAutoSusp = SPI_MASTER_RX_AUTOSUSP_DISABLE;
  hspi1.Init.MasterKeepIOState = SPI_MASTER_KEEP_IO_STATE_ENABLE;
  hspi1.Init.IOSwap = SPI_IO_SWAP_DISABLE;
  hspi1.Init.ReadyMasterManagement = SPI_RDY_MASTER_MANAGEMENT_INTERNALLY;
  hspi1.Init.ReadyPolarity = SPI_RDY_POLARITY_HIGH;
  if (HAL_SPI_Init(&hspi1) != HAL_OK)
  {
    Error_Handler();
  }

}

static void MX_SPI2_Init(void)
{

  /* SPI2 parameter configuration*/
  hspi2.Instance = SPI2;
  hspi2.Init.Mode = SPI_MODE_MASTER;
  hspi2.Init.Direction = SPI_DIRECTION_2LINES;
  hspi2.Init.DataSize = SPI_DATASIZE_8BIT;
  hspi2.Init.CLKPolarity = SPI_POLARITY_LOW;
  hspi2.Init.CLKPhase = SPI_PHASE_1EDGE;
  hspi2.Init.NSS = SPI_NSS_SOFT;
  hspi2.Init.BaudRatePrescaler = SPI_BAUDRATEPRESCALER_8;
  hspi2.Init.FirstBit = SPI_FIRSTBIT_MSB;
  hspi2.Init.TIMode = SPI_TIMODE_DISABLE;
  hspi2.Init.CRCCalculation = SPI_CRCCALCULATION_DISABLE;
  hspi2.Init.CRCPolynomial = 0x7;
  hspi2.Init.NSSPMode = SPI_NSS_PULSE_DISABLE;
  hspi2.Init.NSSPolarity = SPI_NSS_POLARITY_LOW;
  hspi2.Init.FifoThreshold = SPI_FIFO_THRESHOLD_01DATA;
  hspi2.Init.MasterSSIdleness = SPI_MASTER_SS_IDLENESS_00CYCLE;
  hspi2.Init.MasterInterDataIdleness = SPI_MASTER_INTERDATA_IDLENESS_00CYCLE;
  hspi2.Init.MasterReceiverAutoSusp = SPI_MASTER_RX_AUTOSUSP_DISABLE;
  hspi2.Init.MasterKeepIOState = SPI_MASTER_KEEP_IO_STATE_ENABLE;
  hspi2.Init.IOSwap = SPI_IO_SWAP_DISABLE;
  hspi2.Init.ReadyMasterManagement = SPI_RDY_MASTER_MANAGEMENT_INTERNALLY;
  hspi2.Init.ReadyPolarity = SPI_RDY_POLARITY_HIGH;
  if (HAL_SPI_Init(&hspi2) != HAL_OK)
  {
    Error_Handler();
  }

}

static void MX_TIM1_Init(void)
{

  TIM_ClockConfigTypeDef sClockSourceConfig = {0};
  TIM_MasterConfigTypeDef sMasterConfig = {0};
  TIM_IC_InitTypeDef sConfigIC = {0};

  htim1.Instance = TIM1;
  htim1.Init.Prescaler = 1750-1;
  htim1.Init.CounterMode = TIM_COUNTERMODE_UP;
  htim1.Init.Period = 65535;
  htim1.Init.ClockDivision = TIM_CLOCKDIVISION_DIV1;
  htim1.Init.RepetitionCounter = 0;
  htim1.Init.AutoReloadPreload = TIM_AUTORELOAD_PRELOAD_DISABLE;
  if (HAL_TIM_Base_Init(&htim1) != HAL_OK)
  {
    Error_Handler();
  }
  sClockSourceConfig.ClockSource = TIM_CLOCKSOURCE_INTERNAL;
  if (HAL_TIM_ConfigClockSource(&htim1, &sClockSourceConfig) != HAL_OK)
  {
    Error_Handler();
  }
  if (HAL_TIM_IC_Init(&htim1) != HAL_OK)
  {
    Error_Handler();
  }
  sMasterConfig.MasterOutputTrigger = TIM_TRGO_RESET;
  sMasterConfig.MasterOutputTrigger2 = TIM_TRGO2_RESET;
  sMasterConfig.MasterSlaveMode = TIM_MASTERSLAVEMODE_DISABLE;
  if (HAL_TIMEx_MasterConfigSynchronization(&htim1, &sMasterConfig) != HAL_OK)
  {
    Error_Handler();
  }
  sConfigIC.ICPolarity = TIM_INPUTCHANNELPOLARITY_RISING;
  sConfigIC.ICSelection = TIM_ICSELECTION_DIRECTTI;
  sConfigIC.ICPrescaler = TIM_ICPSC_DIV1;
  sConfigIC.ICFilter = 4;
  if (HAL_TIM_IC_ConfigChannel(&htim1, &sConfigIC, TIM_CHANNEL_1) != HAL_OK)
  {
    Error_Handler();
  }

}

static void MX_TIM3_Init(void)
{

  TIM_ClockConfigTypeDef sClockSourceConfig = {0};
  TIM_MasterConfigTypeDef sMasterConfig = {0};

  htim3.Instance = TIM3;
  htim3.Init.Prescaler = 174;
  htim3.Init.CounterMode = TIM_COUNTERMODE_UP;
  htim3.Init.Period = 3999;
  htim3.Init.ClockDivision = TIM_CLOCKDIVISION_DIV1;
  htim3.Init.AutoReloadPreload = TIM_AUTORELOAD_PRELOAD_ENABLE;
  if (HAL_TIM_Base_Init(&htim3) != HAL_OK)
  {
    Error_Handler();
  }
  sClockSourceConfig.ClockSource = TIM_CLOCKSOURCE_INTERNAL;
  if (HAL_TIM_ConfigClockSource(&htim3, &sClockSourceConfig) != HAL_OK)
  {
    Error_Handler();
  }
  sMasterConfig.MasterOutputTrigger = TIM_TRGO_UPDATE;
  sMasterConfig.MasterSlaveMode = TIM_MASTERSLAVEMODE_DISABLE;
  if (HAL_TIMEx_MasterConfigSynchronization(&htim3, &sMasterConfig) != HAL_OK)
  {
    Error_Handler();
  }
  /* USER CODE BEGIN TIM3_Init 2 */
  HAL_TIM_Base_Start(&htim3);
  /* USER CODE END TIM3_Init 2 */

}

static void MX_TIM15_Init(void)
{

  TIM_ClockConfigTypeDef sClockSourceConfig = {0};
  TIM_MasterConfigTypeDef sMasterConfig = {0};
  TIM_IC_InitTypeDef sConfigIC = {0};

  htim15.Instance = TIM15;
  htim15.Init.Prescaler = 1750-1;
  htim15.Init.CounterMode = TIM_COUNTERMODE_UP;
  htim15.Init.Period = 65535;
  htim15.Init.ClockDivision = TIM_CLOCKDIVISION_DIV1;
  htim15.Init.RepetitionCounter = 0;
  htim15.Init.AutoReloadPreload = TIM_AUTORELOAD_PRELOAD_DISABLE;
  if (HAL_TIM_Base_Init(&htim15) != HAL_OK)
  {
    Error_Handler();
  }
  sClockSourceConfig.ClockSource = TIM_CLOCKSOURCE_INTERNAL;
  if (HAL_TIM_ConfigClockSource(&htim15, &sClockSourceConfig) != HAL_OK)
  {
    Error_Handler();
  }
  if (HAL_TIM_IC_Init(&htim15) != HAL_OK)
  {
    Error_Handler();
  }
  sMasterConfig.MasterOutputTrigger = TIM_TRGO_RESET;
  sMasterConfig.MasterSlaveMode = TIM_MASTERSLAVEMODE_DISABLE;
  if (HAL_TIMEx_MasterConfigSynchronization(&htim15, &sMasterConfig) != HAL_OK)
  {
    Error_Handler();
  }
  sConfigIC.ICPolarity = TIM_INPUTCHANNELPOLARITY_RISING;
  sConfigIC.ICSelection = TIM_ICSELECTION_DIRECTTI;
  sConfigIC.ICPrescaler = TIM_ICPSC_DIV1;
  sConfigIC.ICFilter = 4;
  if (HAL_TIM_IC_ConfigChannel(&htim15, &sConfigIC, TIM_CHANNEL_1) != HAL_OK)
  {
    Error_Handler();
  }

}

static void MX_GPIO_Init(void)
{
  GPIO_InitTypeDef GPIO_InitStruct = {0};

  /* GPIO Ports Clock Enable */
  __HAL_RCC_GPIOE_CLK_ENABLE();
  __HAL_RCC_GPIOC_CLK_ENABLE();
  __HAL_RCC_GPIOF_CLK_ENABLE();
  __HAL_RCC_GPIOH_CLK_ENABLE();
  __HAL_RCC_GPIOA_CLK_ENABLE();
  __HAL_RCC_GPIOG_CLK_ENABLE();
  __HAL_RCC_GPIOB_CLK_ENABLE();
  __HAL_RCC_GPIOD_CLK_ENABLE();

  /*Configure GPIO pin Output Level */
  HAL_GPIO_WritePin(GPIOE, TOF_RST_Pin|TOF_LPN_Pin, GPIO_PIN_RESET);

  /*Configure GPIO pin Output Level */
  HAL_GPIO_WritePin(GPIOF, MUX1_SEL1_Pin|MUX1_SEL2_Pin|MUX1_SEL3_Pin|MUX1_SEL4_Pin, GPIO_PIN_RESET);

  /*Configure GPIO pin Output Level */
  HAL_GPIO_WritePin(GPIOA, SPI_1_NSS_Pin|SPI_2_NSS_Pin, GPIO_PIN_RESET);

  /*Configure GPIO pin Output Level */
  HAL_GPIO_WritePin(PHY_RESET_GPIO_Port, PHY_RESET_Pin, GPIO_PIN_SET);

  /*Configure GPIO pin Output Level */
  HAL_GPIO_WritePin(GPIOG, DEBUG_LED1_Pin|DEBUG_LED2_Pin, GPIO_PIN_RESET);

  /*Configure GPIO pin Output Level */
  HAL_GPIO_WritePin(GPIOC, MUX2_SEL1_Pin|MUX2_SEL2_Pin|MUX2_SEL3_Pin|MUX2_SEL4_Pin, GPIO_PIN_RESET);

  /*Configure GPIO pins : IMU_INT1_Pin IMU_INT2_Pin PHY_RX_ER_Pin */
  GPIO_InitStruct.Pin = IMU_INT1_Pin|IMU_INT2_Pin|PHY_RX_ER_Pin;
  GPIO_InitStruct.Mode = GPIO_MODE_INPUT;
  GPIO_InitStruct.Pull = GPIO_NOPULL;
  HAL_GPIO_Init(GPIOE, &GPIO_InitStruct);

  /*Configure GPIO pins : TOF_RST_Pin TOF_LPN_Pin PHY_RESET_Pin */
  GPIO_InitStruct.Pin = TOF_RST_Pin|TOF_LPN_Pin|PHY_RESET_Pin;
  GPIO_InitStruct.Mode = GPIO_MODE_OUTPUT_PP;
  GPIO_InitStruct.Pull = GPIO_NOPULL;
  GPIO_InitStruct.Speed = GPIO_SPEED_FREQ_LOW;
  HAL_GPIO_Init(GPIOE, &GPIO_InitStruct);

  /*Configure GPIO pins : MUX1_SEL1_Pin MUX1_SEL2_Pin MUX1_SEL3_Pin MUX1_SEL4_Pin */
  GPIO_InitStruct.Pin = MUX1_SEL1_Pin|MUX1_SEL2_Pin|MUX1_SEL3_Pin|MUX1_SEL4_Pin;
  GPIO_InitStruct.Mode = GPIO_MODE_OUTPUT_PP;
  GPIO_InitStruct.Pull = GPIO_NOPULL;
  GPIO_InitStruct.Speed = GPIO_SPEED_FREQ_LOW;
  HAL_GPIO_Init(GPIOF, &GPIO_InitStruct);

  /*Configure GPIO pins : SPI_1_NSS_Pin SPI_2_NSS_Pin */
  GPIO_InitStruct.Pin = SPI_1_NSS_Pin|SPI_2_NSS_Pin;
  GPIO_InitStruct.Mode = GPIO_MODE_OUTPUT_PP;
  GPIO_InitStruct.Pull = GPIO_NOPULL;
  GPIO_InitStruct.Speed = GPIO_SPEED_FREQ_LOW;
  HAL_GPIO_Init(GPIOA, &GPIO_InitStruct);

  /*Configure GPIO pin : PHY_IRQ_Pin */
  GPIO_InitStruct.Pin = PHY_IRQ_Pin;
  GPIO_InitStruct.Mode = GPIO_MODE_IT_FALLING;
  GPIO_InitStruct.Pull = GPIO_NOPULL;
  HAL_GPIO_Init(PHY_IRQ_GPIO_Port, &GPIO_InitStruct);

  /*Configure GPIO pin : PHY_GPIO_Pin */
  GPIO_InitStruct.Pin = PHY_GPIO_Pin;
  GPIO_InitStruct.Mode = GPIO_MODE_INPUT;
  GPIO_InitStruct.Pull = GPIO_PULLDOWN;
  HAL_GPIO_Init(PHY_GPIO_GPIO_Port, &GPIO_InitStruct);

  /*Configure GPIO pin : PE13 */
  GPIO_InitStruct.Pin = GPIO_PIN_13;
  GPIO_InitStruct.Mode = GPIO_MODE_IT_RISING;
  GPIO_InitStruct.Pull = GPIO_NOPULL;
  HAL_GPIO_Init(GPIOE, &GPIO_InitStruct);

  /*Configure GPIO pins : DEBUG_LED1_Pin DEBUG_LED2_Pin */
  GPIO_InitStruct.Pin = DEBUG_LED1_Pin|DEBUG_LED2_Pin;
  GPIO_InitStruct.Mode = GPIO_MODE_OUTPUT_PP;
  GPIO_InitStruct.Pull = GPIO_NOPULL;
  GPIO_InitStruct.Speed = GPIO_SPEED_FREQ_LOW;
  HAL_GPIO_Init(GPIOG, &GPIO_InitStruct);

  /*Configure GPIO pins : MUX2_SEL1_Pin MUX2_SEL2_Pin MUX2_SEL3_Pin MUX2_SEL4_Pin */
  GPIO_InitStruct.Pin = MUX2_SEL1_Pin|MUX2_SEL2_Pin|MUX2_SEL3_Pin|MUX2_SEL4_Pin;
  GPIO_InitStruct.Mode = GPIO_MODE_OUTPUT_PP;
  GPIO_InitStruct.Pull = GPIO_NOPULL;
  GPIO_InitStruct.Speed = GPIO_SPEED_FREQ_LOW;
  HAL_GPIO_Init(GPIOC, &GPIO_InitStruct);

  /*Configure GPIO pin : MSB_ADDR_Pin */
  GPIO_InitStruct.Pin = MSB_ADDR_Pin;
  GPIO_InitStruct.Mode = GPIO_MODE_INPUT;
  GPIO_InitStruct.Pull = GPIO_NOPULL;
  HAL_GPIO_Init(MSB_ADDR_GPIO_Port, &GPIO_InitStruct);

  /* EXTI interrupt init*/
  HAL_NVIC_SetPriority(EXTI7_IRQn, 2, 0);
  HAL_NVIC_EnableIRQ(EXTI7_IRQn);

}

void HAL_TIM_PeriodElapsedCallback(TIM_HandleTypeDef *htim)
{
  if (htim->Instance == TIM2)
  {
    HAL_IncTick();
  }
}

void Error_Handler(void)
{
  __disable_irq();
  while (1)
  {
  }
}
